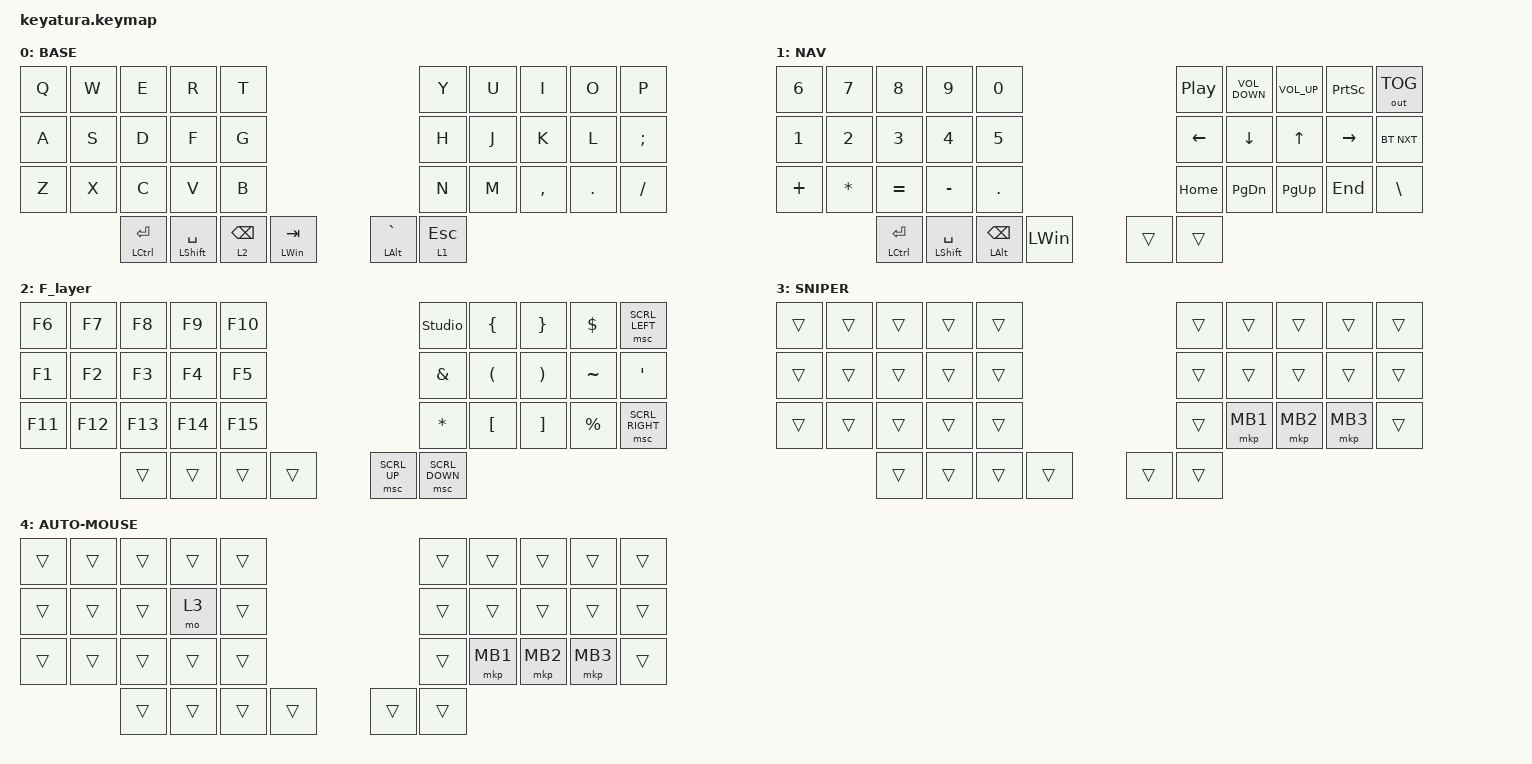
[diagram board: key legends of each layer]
#include <behaviors.dtsi>
#include <dt-bindings/zmk/bt.h>
#include <dt-bindings/zmk/keys.h>
#include <dt-bindings/zmk/outputs.h>
#include <dt-bindings/zmk/pointing.h>
#include <dt-bindings/zmk/pointing.h>

#define U_TAPPING_TERM 220
#define U_QUICK_TAP 200

/ {
    combos {
        compatible = "zmk,combos";

        ParaLeft {
            bindings = <&kp LEFT_PARENTHESIS>;
            key-positions = <6 7>;
        };

        ParaRight {
            bindings = <&kp RIGHT_PARENTHESIS>;
            key-positions = <2 3>;
        };

        BrakLeft {
            bindings = <&kp LEFT_BRACKET>;
            key-positions = <26 27>;
        };

        BrakRight {
            bindings = <&kp RIGHT_BRACKET>;
            key-positions = <22 23>;
        };

        Delete {
            bindings = <&kp DELETE>;
            key-positions = <8 9>;
        };

        CapsWord {
            bindings = <&caps_word>;
            key-positions = <11 12>;
        };

        quote {
            bindings = <&kp SINGLE_QUOTE>;
            key-positions = <17 18>;
        };
    };

    behaviors {
        u_mt: u_mt {
            compatible = "zmk,behavior-hold-tap";
            label = "u_mt";
            #binding-cells = <2>;
            tapping-term-ms = <U_TAPPING_TERM>;
            quick-tap-ms = <U_QUICK_TAP>;
            flavor = "tap-preferred";
            bindings = <&kp>, <&kp>;
        };

        u_lt: u_lt {
            compatible = "zmk,behavior-hold-tap";
            label = "u_lt";
            #binding-cells = <2>;
            tapping-term-ms = <U_TAPPING_TERM>;
            quick-tap-ms = <U_QUICK_TAP>;
            flavor = "tap-preferred";
            bindings = <&mo>, <&kp>;
        };
    };

    keymap {
        compatible = "zmk,keymap";

        BASE {
            bindings = <
&kp Q  &kp W              &kp E              &kp R            &kp T           &kp Y             &kp U           &kp I      &kp O    &kp P
&kp A  &kp S              &kp D              &kp F            &kp G           &kp H             &kp J           &kp K      &kp L    &kp SEMI
&kp Z  &kp X              &kp C              &kp V            &kp B           &kp N             &kp M           &kp COMMA  &kp DOT  &kp FSLH
       &u_mt LCTRL ENTER  &u_mt LSHFT SPACE  &lt 2 BACKSPACE  &u_mt LWIN TAB  &u_mt LALT GRAVE  &u_lt 1 ESCAPE
            >;
        };

        NAV {
            bindings = <
&kp N6    &kp N7             &kp N8             &kp N9                &kp N0        &kp C_PLAY_PAUSE  &kp C_VOLUME_DOWN  &kp C_VOLUME_UP  &kp PRINTSCREEN  &out OUT_TOG
&kp N1    &kp N2             &kp N3             &kp N4                &kp N5        &kp LEFT_ARROW    &kp DOWN           &kp UP_ARROW     &kp RIGHT        &bt BT_NXT
&kp PLUS  &kp ASTERISK       &kp EQUAL          &kp MINUS             &kp DOT       &kp HOME          &kp PAGE_DOWN      &kp PG_UP        &kp END          &kp BACKSLASH
          &u_mt LCTRL ENTER  &u_mt LSHFT SPACE  &u_mt LALT BACKSPACE  &kp LEFT_WIN  &trans            &trans
            >;
        };

        F_layer {
            bindings = <
&kp F6   &kp F7   &kp F8   &kp F9   &kp F10  &studio_unlock  &kp LEFT_BRACE        &kp RIGHT_BRACE        &kp DOLLAR   &msc SCRL_LEFT
&kp F1   &kp F2   &kp F3   &kp F4   &kp F5   &kp AMPS        &kp LEFT_PARENTHESIS  &kp RIGHT_PARENTHESIS  &kp TILDE    &kp SINGLE_QUOTE
&kp F11  &kp F12  &kp F13  &kp F14  &kp F15  &kp ASTERISK    &kp LEFT_BRACKET      &kp RIGHT_BRACKET      &kp PERCENT  &msc SCRL_RIGHT
         &trans   &trans   &trans   &trans   &msc SCRL_UP    &msc SCRL_DOWN
            >;
        };

        SNIPER {
            bindings = <
&trans  &trans  &trans  &trans  &trans  &trans  &trans    &trans    &trans    &trans
&trans  &trans  &trans  &trans  &trans  &trans  &trans    &trans    &trans    &trans
&trans  &trans  &trans  &trans  &trans  &trans  &mkp MB1  &mkp MB2  &mkp MB3  &trans
        &trans  &trans  &trans  &trans  &trans  &trans
            >;
        };

        AUTO-MOUSE {
            bindings = <
&trans  &trans  &trans  &trans  &trans  &trans  &trans    &trans    &trans    &trans
&trans  &trans  &trans  &mo 3   &trans  &trans  &trans    &trans    &trans    &trans
&trans  &trans  &trans  &trans  &trans  &trans  &mkp MB1  &mkp MB2  &mkp MB3  &trans
        &trans  &trans  &trans  &trans  &trans  &trans
            >;
        };
    };

    conditional_layers { compatible = "zmk,conditional-layers"; };
};
